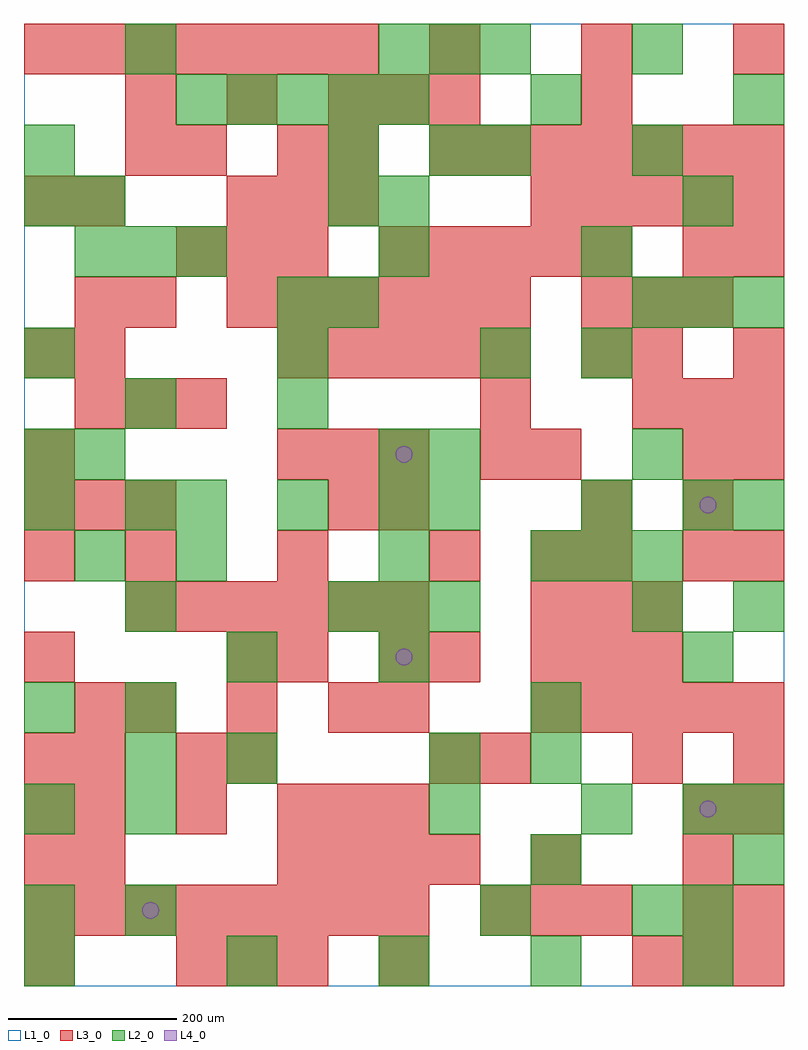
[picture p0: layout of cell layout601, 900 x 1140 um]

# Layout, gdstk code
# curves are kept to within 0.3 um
import gdstk
lib = gdstk.Library(unit=1e-6, precision=1e-09)
def R(c, l, rs):  # rectangles x0, y0, x1, y1
    for r in rs: c.add(gdstk.rectangle(r[:2], r[2:], *l))
def A(c, l, x, y, w, h, nx, ny, dx, dy):  # array of equal rectangles
    R(c, l, [(x+i*dx, y+j*dy, x+i*dx+w, y+j*dy+h) for i in range(nx) for j in range(ny)])
def P(c, l, *ps):  # polygons
    for p in ps: c.add(gdstk.Polygon(p, *l))
L1_0 = (1, 0)
L2_0 = (2, 0)
L3_0 = (3, 0)
L4_0 = (4, 0)

layout601 = lib.new_cell('layout601')
R(layout601, L1_0, [(0,0,900,1140)])
A(layout601, L2_0, 240, 0, 60, 60, 4, 1, 180, 0)
A(layout601, L2_0, 0, 60, 60, 60, 1, 3, 0, 120)
A(layout601, L2_0, 120, 180, 60, 60, 1, 3, 0, 60)
A(layout601, L2_0, 780, 180, 60, 60, 1, 3, 0, 180)
A(layout601, L2_0, 420, 360, 60, 60, 1, 3, 0, 120)
A(layout601, L2_0, 120, 420, 60, 60, 1, 3, 0, 120)
A(layout601, L2_0, 360, 420, 60, 60, 3, 1, 60, 0)
A(layout601, L2_0, 600, 480, 60, 60, 3, 1, 60, 0)
A(layout601, L2_0, 180, 540, 60, 60, 3, 1, 120, 0)
A(layout601, L2_0, 300, 660, 60, 60, 1, 3, 0, 60)
A(layout601, L2_0, 720, 780, 60, 60, 3, 1, 60, 0)
A(layout601, L2_0, 60, 840, 60, 60, 3, 1, 60, 0)
A(layout601, L2_0, 180, 1020, 60, 60, 5, 1, 60, 0)
A(layout601, L2_0, 420, 1080, 60, 60, 3, 1, 60, 0)
R(layout601, L2_0, [(0,0,60,60), (120,60,180,120), (540,60,600,120), (720,60,780,120), (780,60,840,120), (600,120,660,180), (840,120,900,180), (480,180,540,240), (660,180,720,240), (840,180,900,240), (240,240,300,300), (480,240,540,300), (600,240,660,300), (600,300,660,360), (240,360,300,420), (720,420,780,480), (840,420,900,480), (60,480,120,540), (180,480,240,540), (0,540,60,600), (480,540,540,600), (660,540,720,600), (840,540,900,600), (0,600,60,660), (60,600,120,660), (480,600,540,660), (720,600,780,660), (0,720,60,780), (540,720,600,780), (660,720,720,780), (360,780,420,840), (420,840,480,900), (660,840,720,900), (0,900,60,960), (60,900,120,960), (360,900,420,960), (420,900,480,960), (780,900,840,960), (0,960,60,1020), (360,960,420,1020), (480,960,540,1020), (540,960,600,1020), (720,960,780,1020), (600,1020,660,1080), (840,1020,900,1080), (120,1080,180,1140), (720,1080,780,1140)])
A(layout601, L3_0, 180, 0, 60, 60, 3, 2, 60, 840)
A(layout601, L3_0, 720, 0, 60, 60, 3, 2, 60, 660)
A(layout601, L3_0, 0, 60, 60, 60, 8, 1, 60, 0)
A(layout601, L3_0, 540, 60, 60, 60, 3, 1, 60, 0)
A(layout601, L3_0, 780, 60, 60, 60, 1, 3, 0, 60)
A(layout601, L3_0, 0, 120, 60, 60, 1, 3, 0, 60)
A(layout601, L3_0, 300, 120, 60, 60, 4, 1, 60, 0)
A(layout601, L3_0, 60, 180, 60, 60, 3, 1, 120, 0)
A(layout601, L3_0, 120, 300, 60, 60, 3, 2, 120, 720)
A(layout601, L3_0, 600, 300, 60, 60, 5, 2, 60, 600)
A(layout601, L3_0, 0, 360, 60, 60, 1, 4, 0, 120)
A(layout601, L3_0, 600, 360, 60, 60, 3, 2, 60, 60)
A(layout601, L3_0, 120, 420, 60, 60, 6, 1, 60, 0)
A(layout601, L3_0, 120, 480, 60, 60, 3, 1, 180, 0)
A(layout601, L3_0, 780, 480, 60, 60, 1, 3, 0, 60)
A(layout601, L3_0, 840, 480, 60, 60, 1, 4, 0, 120)
A(layout601, L3_0, 0, 540, 60, 60, 3, 1, 60, 0)
A(layout601, L3_0, 300, 600, 60, 60, 3, 1, 60, 0)
A(layout601, L3_0, 60, 660, 60, 60, 3, 1, 60, 0)
A(layout601, L3_0, 300, 720, 60, 60, 5, 1, 60, 0)
A(layout601, L3_0, 240, 780, 60, 60, 6, 1, 60, 0)
A(layout601, L3_0, 660, 780, 60, 60, 3, 1, 60, 0)
A(layout601, L3_0, 420, 840, 60, 60, 5, 1, 60, 0)
A(layout601, L3_0, 240, 900, 60, 60, 3, 1, 60, 0)
A(layout601, L3_0, 480, 960, 60, 60, 7, 1, 60, 0)
A(layout601, L3_0, 0, 1080, 60, 60, 7, 1, 60, 0)
A(layout601, L3_0, 480, 1080, 60, 60, 3, 1, 180, 0)
R(layout601, L3_0, [(0,0,60,60), (420,0,480,60), (840,60,900,120), (60,120,120,180), (600,120,660,180), (360,180,420,240), (420,180,480,240), (840,180,900,240), (60,240,120,300), (180,240,240,300), (240,240,300,300), (480,240,540,300), (540,240,600,300), (720,240,780,300), (840,240,900,300), (60,300,120,360), (420,300,480,360), (240,360,300,420), (300,360,360,420), (420,360,480,420), (480,360,540,420), (600,480,660,540), (660,480,720,540), (360,540,420,600), (420,540,480,600), (660,540,720,600), (540,600,600,660), (600,600,660,660), (540,660,600,720), (60,720,120,780), (660,720,720,780), (720,720,780,780), (60,780,120,840), (120,780,180,840), (780,840,840,900), (0,900,60,960), (60,900,120,960), (120,960,180,1020), (180,960,240,1020), (300,960,360,1020), (360,960,420,1020), (420,1020,480,1080), (480,1020,540,1080), (660,1020,720,1080)])
P(layout601, L4_0, [(160,90),(159.239,93.827),(157.071,97.071),(153.827,99.239),(150,100),(146.173,99.239),(142.929,97.071),(140.761,93.827),(140,90),(140.761,86.173),(142.929,82.929),(146.173,80.761),(150,80),(153.827,80.761),(157.071,82.929),(159.239,86.173)],
  [(460,390),(459.239,393.827),(457.071,397.071),(453.827,399.239),(450,400),(446.173,399.239),(442.929,397.071),(440.761,393.827),(440,390),(440.761,386.173),(442.929,382.929),(446.173,380.761),(450,380),(453.827,380.761),(457.071,382.929),(459.239,386.173)],
  [(460,630),(459.239,633.827),(457.071,637.071),(453.827,639.239),(450,640),(446.173,639.239),(442.929,637.071),(440.761,633.827),(440,630),(440.761,626.173),(442.929,622.929),(446.173,620.761),(450,620),(453.827,620.761),(457.071,622.929),(459.239,626.173)],
  [(820,210),(819.239,213.827),(817.071,217.071),(813.827,219.239),(810,220),(806.173,219.239),(802.929,217.071),(800.761,213.827),(800,210),(800.761,206.173),(802.929,202.929),(806.173,200.761),(810,200),(813.827,200.761),(817.071,202.929),(819.239,206.173)],
  [(820,570),(819.239,573.827),(817.071,577.071),(813.827,579.239),(810,580),(806.173,579.239),(802.929,577.071),(800.761,573.827),(800,570),(800.761,566.173),(802.929,562.929),(806.173,560.761),(810,560),(813.827,560.761),(817.071,562.929),(819.239,566.173)])

lib.write_gds('layout601.gds')
